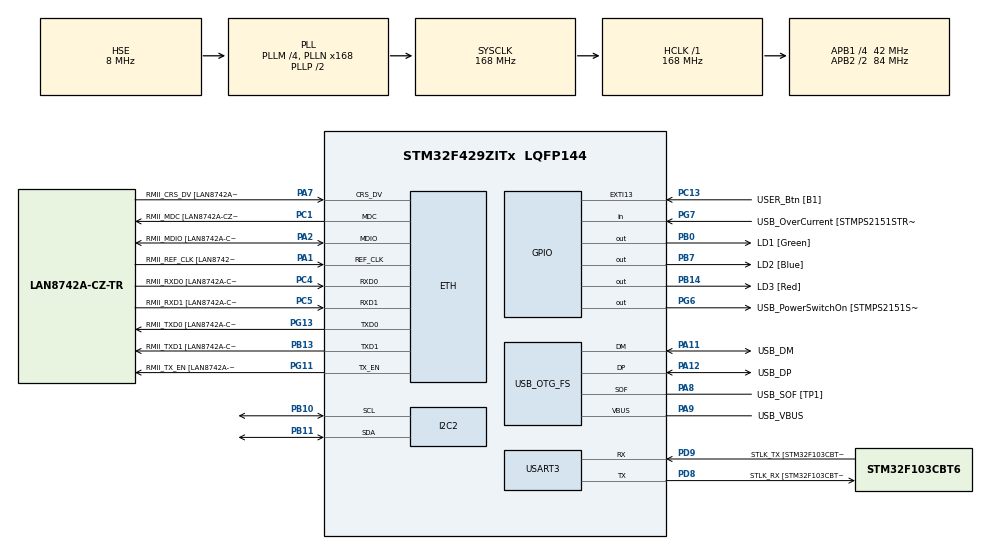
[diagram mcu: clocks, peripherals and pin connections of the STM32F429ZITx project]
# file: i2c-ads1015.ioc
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ETH.MediaInterface=HAL_ETH_RMII_MODE
ETH.PHY_Name=LAN8742A_PHY_ADDRESS
ETH.PHY_Value=0
ETH.PhyAddress=0
Mcu.Family=STM32F4
Mcu.Name=STM32F429ZITx
Mcu.Package=LQFP144
NVIC.PriorityGroup=NVIC_PRIORITYGROUP_4
NVIC.USART3_IRQn=true\:0\:0\:false\:false\:true\:true\:true\:true
PA1.GPIO_Label=RMII_REF_CLK [LAN8742A-CZ-TR_REFCLK0]
PA1.Mode=RMII
PA1.Signal=ETH_REF_CLK
PA10.GPIO_Label=USB_ID
PA10.Signal=USB_OTG_FS_ID
PA11.GPIO_Label=USB_DM
PA11.Mode=Device_Only
PA11.Signal=USB_OTG_FS_DM
PA12.GPIO_Label=USB_DP
PA12.Mode=Device_Only
PA12.Signal=USB_OTG_FS_DP
PA13.GPIO_Label=TMS
PA13.Mode=Serial_Wire
PA13.Signal=SYS_JTMS-SWDIO
PA14.GPIO_Label=TCK
PA14.Mode=Serial_Wire
PA14.Signal=SYS_JTCK-SWCLK
PA2.GPIO_Label=RMII_MDIO [LAN8742A-CZ-TR_MDIO]
PA2.Mode=RMII
PA2.Signal=ETH_MDIO
PA7.GPIO_Label=RMII_CRS_DV [LAN8742A-CZ-TR_CRS_DV]
PA7.Mode=RMII
PA7.Signal=ETH_CRS_DV
PA8.GPIO_Label=USB_SOF [TP1]
PA8.Mode=Activate_SOF_FS
PA8.Signal=USB_OTG_FS_SOF
PA9.GPIO_Label=USB_VBUS
PA9.Mode=Activate_VBUS
PA9.Signal=USB_OTG_FS_VBUS
PB0.GPIO_Label=LD1 [Green]
PB0.Signal=GPIO_Output
PB10.GPIO_Pu=GPIO_NOPULL
PB10.Mode=I2C
PB10.Signal=I2C2_SCL
PB11.Mode=I2C
PB11.Signal=I2C2_SDA
PB13.GPIO_Label=RMII_TXD1 [LAN8742A-CZ-TR_TXD1]
PB13.Mode=RMII
PB13.Signal=ETH_TXD1
PB14.GPIO_Label=LD3 [Red]
PB14.Signal=GPIO_Output
PB7.GPIO_Label=LD2 [Blue]
PB7.Signal=GPIO_Output
PC1.GPIO_Label=RMII_MDC [LAN8742A-CZ-TR_MDC]
PC1.Mode=RMII
PC1.Signal=ETH_MDC
PC13.GPIO_Label=USER_Btn [B1]
PC13.Signal=GPXTI13
PC14/OSC32_IN.Mode=LSE-External-Oscillator
PC14/OSC32_IN.Signal=RCC_OSC32_IN
PC15/OSC32_OUT.Mode=LSE-External-Oscillator
PC15/OSC32_OUT.Signal=RCC_OSC32_OUT
PC4.GPIO_Label=RMII_RXD0 [LAN8742A-CZ-TR_RXD0]
PC4.Mode=RMII
PC4.Signal=ETH_RXD0
PC5.GPIO_Label=RMII_RXD1 [LAN8742A-CZ-TR_RXD1]
PC5.Mode=RMII
PC5.Signal=ETH_RXD1
PD8.GPIO_Label=STLK_RX [STM32F103CBT6_PA3]
PD8.Mode=Asynchronous
PD8.Signal=USART3_TX
PD9.GPIO_Label=STLK_TX [STM32F103CBT6_PA2]
PD9.Mode=Asynchronous
PD9.Signal=USART3_RX
PG11.GPIO_Label=RMII_TX_EN [LAN8742A-CZ-TR_TXEN]
PG11.Mode=RMII
PG11.Signal=ETH_TX_EN
PG13.GPIO_Label=RMII_TXD0 [LAN8742A-CZ-TR_TXD0]
PG13.Mode=RMII
PG13.Signal=ETH_TXD0
PG6.GPIO_Label=USB_PowerSwitchOn [STMPS2151STR_EN]
PG6.Signal=GPIO_Output
PG7.GPIO_Label=USB_OverCurrent [STMPS2151STR_FAULT]
PG7.Signal=GPIO_Input
PH0/OSC_IN.GPIO_Label=MCO [STM32F103CBT6_PA8]
PH0/OSC_IN.Mode=HSE-External-Clock-Source
PH0/OSC_IN.Signal=RCC_OSC_IN
PH1/OSC_OUT.Mode=HSE-External-Clock-Source
PH1/OSC_OUT.Signal=RCC_OSC_OUT
ProjectManager.HeapSize=0x200
ProjectManager.StackSize=0x400
ProjectManager.TargetToolchain=STM32CubeIDE
RCC.48MHZClocksFreq_Value=48000000
RCC.AHBFreq_Value=168000000
RCC.APB1CLKDivider=RCC_HCLK_DIV4
RCC.APB1Freq_Value=42000000
RCC.APB1TimFreq_Value=84000000
RCC.APB2CLKDivider=RCC_HCLK_DIV2
RCC.APB2Freq_Value=84000000
RCC.APB2TimCLKDivider=2
RCC.APB2TimFreq_Value=168000000
RCC.CortexFreq_Value=168000000
RCC.HCLKFreq_Value=168000000
RCC.HSE_VALUE=8000000
RCC.HSI_VALUE=16000000
RCC.PLLM=4
RCC.PLLMUL=RCC_PLL_MUL9
RCC.PLLN=168
RCC.PLLQ=7
RCC.PRESCALERUSB=RCC_USBCLKSOURCE_PLL_DIV1_5
RCC.SYSCLKFreq_VALUE=168000000
RCC.SYSCLKSource=RCC_SYSCLKSOURCE_PLLCLK
RCC.SYSCLKSourceVirtual=RCC_SYSCLKSOURCE_PLLCLK
RCC.USBFreq_Value=48000000
RCC.VCOOutputFreq_Value=336000000
USART3.VirtualMode=VM_ASYNC
USB_OTG_FS.VirtualMode=Device_Only
board=NUCLEO-F429ZI

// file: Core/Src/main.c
/* USER CODE BEGIN Header */
/**
  ******************************************************************************
  * @file           : main.c
  * @brief          : Main program body
  ******************************************************************************
  * @attention
  *
  * Copyright (c) 2022 STMicroelectronics.
  * All rights reserved.
  *
  * This software is licensed under terms that can be found in the LICENSE file
  * in the root directory of this software component.
  * If no LICENSE file comes with this software, it is provided AS-IS.
  *
  ******************************************************************************
  */
/* USER CODE END Header */
#include "main.h"
#include "string.h"

ETH_TxPacketConfig TxConfig;
ETH_DMADescTypeDef  DMARxDscrTab[ETH_RX_DESC_CNT]; /* Ethernet Rx DMA Descriptors */
ETH_DMADescTypeDef  DMATxDscrTab[ETH_TX_DESC_CNT]; /* Ethernet Tx DMA Descriptors */

ETH_HandleTypeDef heth;

I2C_HandleTypeDef hi2c2;

UART_HandleTypeDef huart3;

PCD_HandleTypeDef hpcd_USB_OTG_FS;

/* USER CODE BEGIN PV */

static const uint8_t ADS1015_DEV_ADDR_GND = (0x48<<1);
static const uint8_t ADS1015_DEV_ADDR_VDD = (0x49<<1);
static const uint8_t ADS1015_DEV_ADDR_SCL = (0x4B<<1);
uint8_t testReceiveData[60];  //  creating a buffer of 60 bytes
const uint8_t addrhex[2] = "0x";
uint8_t test[13];
uint16_t devAddr;

int errorFlag = 0;
int writeFlag = 0;
int readFlag = 0;
int i2cFlag = 0;
int resetFlag = 0;
int clearFlag = 0;
int configFlag = 1;

/* USER CODE END PV */

void SystemClock_Config(void);
static void MX_GPIO_Init(void);
static void MX_ETH_Init(void);
static void MX_USART3_UART_Init(void);
static void MX_USB_OTG_FS_PCD_Init(void);
static void MX_I2C2_Init(void);

/* USER CODE BEGIN 0 */

void removeChar(char * str, char charToRemove){
    int i, j;
    int len = strlen(str);
    for(i=0; i<len; i++)
    {
        if(str[i] == charToRemove)
        {
            for(j=i; j<len; j++)
            {
                str[j] = str[j+1];
            }
            len--;
            i--;
        }
    }
}

void slice(const char *str, char *result, size_t start, size_t end){
    strncpy(result, str + start, end - start);
}

void MY_UART_Transmit(UART_HandleTypeDef *huart, const uint8_t *pData, uint32_t Timeout){

	removeChar(pData,'\n');
	removeChar(pData,'\r');
	strcat(pData, "\r\n");

	HAL_UART_Transmit(&huart3, pData, strlen(pData), Timeout);
}

/* USER CODE END 0 */

int main(void)
{
  /* USER CODE BEGIN 1 */

	uint8_t dataBuffer[2] = {0};
	int deviceReadyFlag = 1;

	uint8_t adsWrite[6] = {0x01, 0xC1, 0x83};
	uint8_t result[5];
	int16_t reading;
	float voltage;
	const float voltageConv = 5.053 / 32768.0;
  /* USER CODE END 1 */

  /* MCU Configuration--------------------------------------------------------*/

  /* Reset of all peripherals, Initializes the Flash interface and the Systick. */
  HAL_Init();

  /* Configure the system clock */
  SystemClock_Config();

  /* Initialize all configured peripherals */
  MX_GPIO_Init();
  MX_ETH_Init();
  MX_USART3_UART_Init();
  MX_USB_OTG_FS_PCD_Init();
  MX_I2C2_Init();
  /* USER CODE BEGIN 2 */
  HAL_UART_Receive_IT(&huart3,testReceiveData,sizeof(testReceiveData));
  /* USER CODE END 2 */

  /* Infinite loop */
  /* USER CODE BEGIN WHILE */
  while (1)
  {

	  if(deviceReadyFlag)
	  {
		  deviceReadyFlag = 0;
		  HAL_StatusTypeDef ready = HAL_I2C_IsDeviceReady(&hi2c2, ADS1015_DEV_ADDR_GND, 10, 3000);
		  if (ready != HAL_OK)
			  strcpy((char*)dataBuffer, "DEVICE 1 NOT READY");
		  else
			  MY_UART_Transmit(&huart3, "DEVICE 1 READY", 1000);

		  ready = HAL_I2C_IsDeviceReady(&hi2c2, ADS1015_DEV_ADDR_VDD, 10, 3000);
		  if (ready != HAL_OK)
		  	 strcpy((char*)dataBuffer, "DEVICE 2 NOT READY");
		  else
		  	 MY_UART_Transmit(&huart3, "DEVICE 2 READY", 1000);

		  MY_UART_Transmit(&huart3, dataBuffer, 1000);
	  }

	  if(i2cFlag)
	  {
	  	  		i2cFlag = 0;

	  	  		if(readFlag)
	  	  		{
	  	  			readFlag = 0;
	  	  			adsWrite[0] = 0x01;
	  	  			HAL_StatusTypeDef ret = HAL_I2C_Master_Transmit(&hi2c2, devAddr, adsWrite, 3, 1000);
	  	  			if ( ret != HAL_OK )
	  	  			{
	  	  				strcpy((char*)dataBuffer, "Error ConfigRegister Tx in Rx\r\n");
	  	  				errorFlag = 1;
	  	  			}

	  	  			adsWrite[0] = 0x00;
	  	  			ret = HAL_I2C_Master_Transmit(&hi2c2, devAddr, adsWrite, 1, 1000);
	  	  			if ( ret != HAL_OK )
	  	  			{
	  	  				strcpy((char*)dataBuffer, "Error ConversionRegister Tx in Rx\r\n");
	  	  				errorFlag = 1;
	  	  			}

	  	  			ret = HAL_I2C_Master_Receive(&hi2c2, devAddr, dataBuffer, 2, 3000);
	  	  			if(ret != HAL_OK)
	  	  			{
	  	  				strcpy((char*)dataBuffer, "Error Data Rx\r\n");
	  	  				errorFlag = 1;
	  	  			}

	  	  			else
	  	  			{
	  	  				reading = (dataBuffer[0] << 8 | dataBuffer[1]);
	  	  				voltage = reading * voltageConv;
	  	  				gcvt(voltage, 6, result);
	  	  				HAL_UART_Transmit(&huart3, "RECEIVED: ", 10, 1000);
	  	  				MY_UART_Transmit(&huart3, result, 1000);
	  	  				resetFlag = 1;
	  	  			}
	  	  	  	}

	  	  	HAL_UART_Receive_IT(&huart3,testReceiveData,sizeof(testReceiveData));
	  	  	resetFlag = 1;
	  	}

	  	if(resetFlag)
	  	{
	  		resetFlag = 0;
	  		reading = 0;
	  		voltage = 0;
	  		memset(dataBuffer,0,sizeof(dataBuffer));

	  		adsWrite[0] = 0x01;
	  		adsWrite[1] = 0x85;
	  		adsWrite[2] = 0x83;
	  		HAL_StatusTypeDef ret = HAL_I2C_Master_Transmit(&hi2c2, ADS1015_DEV_ADDR_GND, adsWrite, 3, 1000);
	  		if ( ret != HAL_OK )
	  		{
				strcpy((char*)dataBuffer, "Error Reset Tx\r\n");
				errorFlag = 1;
	  		}
	  	}

	  	if(errorFlag)
		{
			 errorFlag = 0;
			 MY_UART_Transmit(&huart3, dataBuffer, 1000);
		}

    /* USER CODE END WHILE */

  }
}

void SystemClock_Config(void)
{
  RCC_OscInitTypeDef RCC_OscInitStruct = {0};
  RCC_ClkInitTypeDef RCC_ClkInitStruct = {0};

  /** Configure the main internal regulator output voltage
  */
  __HAL_RCC_PWR_CLK_ENABLE();
  __HAL_PWR_VOLTAGESCALING_CONFIG(PWR_REGULATOR_VOLTAGE_SCALE1);

  /** Initializes the RCC Oscillators according to the specified parameters
  * in the RCC_OscInitTypeDef structure.
  */
  RCC_OscInitStruct.OscillatorType = RCC_OSCILLATORTYPE_HSE;
  RCC_OscInitStruct.HSEState = RCC_HSE_BYPASS;
  RCC_OscInitStruct.PLL.PLLState = RCC_PLL_ON;
  RCC_OscInitStruct.PLL.PLLSource = RCC_PLLSOURCE_HSE;
  RCC_OscInitStruct.PLL.PLLM = 4;
  RCC_OscInitStruct.PLL.PLLN = 168;
  RCC_OscInitStruct.PLL.PLLP = RCC_PLLP_DIV2;
  RCC_OscInitStruct.PLL.PLLQ = 7;
  if (HAL_RCC_OscConfig(&RCC_OscInitStruct) != HAL_OK)
  {
    Error_Handler();
  }

  /** Initializes the CPU, AHB and APB buses clocks
  */
  RCC_ClkInitStruct.ClockType = RCC_CLOCKTYPE_HCLK|RCC_CLOCKTYPE_SYSCLK
                              |RCC_CLOCKTYPE_PCLK1|RCC_CLOCKTYPE_PCLK2;
  RCC_ClkInitStruct.SYSCLKSource = RCC_SYSCLKSOURCE_PLLCLK;
  RCC_ClkInitStruct.AHBCLKDivider = RCC_SYSCLK_DIV1;
  RCC_ClkInitStruct.APB1CLKDivider = RCC_HCLK_DIV4;
  RCC_ClkInitStruct.APB2CLKDivider = RCC_HCLK_DIV2;

  if (HAL_RCC_ClockConfig(&RCC_ClkInitStruct, FLASH_LATENCY_5) != HAL_OK)
  {
    Error_Handler();
  }
}

static void MX_ETH_Init(void)
{

   static uint8_t MACAddr[6];

  heth.Instance = ETH;
  MACAddr[0] = 0x00;
  MACAddr[1] = 0x80;
  MACAddr[2] = 0xE1;
  MACAddr[3] = 0x00;
  MACAddr[4] = 0x00;
  MACAddr[5] = 0x00;
  heth.Init.MACAddr = &MACAddr[0];
  heth.Init.MediaInterface = HAL_ETH_RMII_MODE;
  heth.Init.TxDesc = DMATxDscrTab;
  heth.Init.RxDesc = DMARxDscrTab;
  heth.Init.RxBuffLen = 1524;

  if (HAL_ETH_Init(&heth) != HAL_OK)
  {
    Error_Handler();
  }

  memset(&TxConfig, 0 , sizeof(ETH_TxPacketConfig));
  TxConfig.Attributes = ETH_TX_PACKETS_FEATURES_CSUM | ETH_TX_PACKETS_FEATURES_CRCPAD;
  TxConfig.ChecksumCtrl = ETH_CHECKSUM_IPHDR_PAYLOAD_INSERT_PHDR_CALC;
  TxConfig.CRCPadCtrl = ETH_CRC_PAD_INSERT;

}

static void MX_I2C2_Init(void)
{

  hi2c2.Instance = I2C2;
  hi2c2.Init.ClockSpeed = 100000;
  hi2c2.Init.DutyCycle = I2C_DUTYCYCLE_2;
  hi2c2.Init.OwnAddress1 = 0;
  hi2c2.Init.AddressingMode = I2C_ADDRESSINGMODE_7BIT;
  hi2c2.Init.DualAddressMode = I2C_DUALADDRESS_DISABLE;
  hi2c2.Init.OwnAddress2 = 0;
  hi2c2.Init.GeneralCallMode = I2C_GENERALCALL_DISABLE;
  hi2c2.Init.NoStretchMode = I2C_NOSTRETCH_DISABLE;
  if (HAL_I2C_Init(&hi2c2) != HAL_OK)
  {
    Error_Handler();
  }

  /** Configure Analogue filter
  */
  if (HAL_I2CEx_ConfigAnalogFilter(&hi2c2, I2C_ANALOGFILTER_ENABLE) != HAL_OK)
  {
    Error_Handler();
  }

  /** Configure Digital filter
  */
  if (HAL_I2CEx_ConfigDigitalFilter(&hi2c2, 0) != HAL_OK)
  {
    Error_Handler();
  }

}

static void MX_USART3_UART_Init(void)
{

  huart3.Instance = USART3;
  huart3.Init.BaudRate = 115200;
  huart3.Init.WordLength = UART_WORDLENGTH_8B;
  huart3.Init.StopBits = UART_STOPBITS_1;
  huart3.Init.Parity = UART_PARITY_NONE;
  huart3.Init.Mode = UART_MODE_TX_RX;
  huart3.Init.HwFlowCtl = UART_HWCONTROL_NONE;
  huart3.Init.OverSampling = UART_OVERSAMPLING_16;
  if (HAL_UART_Init(&huart3) != HAL_OK)
  {
    Error_Handler();
  }

}

static void MX_USB_OTG_FS_PCD_Init(void)
{

  hpcd_USB_OTG_FS.Instance = USB_OTG_FS;
  hpcd_USB_OTG_FS.Init.dev_endpoints = 4;
  hpcd_USB_OTG_FS.Init.speed = PCD_SPEED_FULL;
  hpcd_USB_OTG_FS.Init.dma_enable = DISABLE;
  hpcd_USB_OTG_FS.Init.phy_itface = PCD_PHY_EMBEDDED;
  hpcd_USB_OTG_FS.Init.Sof_enable = ENABLE;
  hpcd_USB_OTG_FS.Init.low_power_enable = DISABLE;
  hpcd_USB_OTG_FS.Init.lpm_enable = DISABLE;
  hpcd_USB_OTG_FS.Init.vbus_sensing_enable = ENABLE;
  hpcd_USB_OTG_FS.Init.use_dedicated_ep1 = DISABLE;
  if (HAL_PCD_Init(&hpcd_USB_OTG_FS) != HAL_OK)
  {
    Error_Handler();
  }

}

static void MX_GPIO_Init(void)
{
  GPIO_InitTypeDef GPIO_InitStruct = {0};

  /* GPIO Ports Clock Enable */
  __HAL_RCC_GPIOC_CLK_ENABLE();
  __HAL_RCC_GPIOH_CLK_ENABLE();
  __HAL_RCC_GPIOA_CLK_ENABLE();
  __HAL_RCC_GPIOB_CLK_ENABLE();
  __HAL_RCC_GPIOD_CLK_ENABLE();
  __HAL_RCC_GPIOG_CLK_ENABLE();

  /*Configure GPIO pin Output Level */
  HAL_GPIO_WritePin(GPIOB, LD1_Pin|LD3_Pin|LD2_Pin, GPIO_PIN_RESET);

  /*Configure GPIO pin Output Level */
  HAL_GPIO_WritePin(USB_PowerSwitchOn_GPIO_Port, USB_PowerSwitchOn_Pin, GPIO_PIN_RESET);

  /*Configure GPIO pin : USER_Btn_Pin */
  GPIO_InitStruct.Pin = USER_Btn_Pin;
  GPIO_InitStruct.Mode = GPIO_MODE_IT_RISING;
  GPIO_InitStruct.Pull = GPIO_NOPULL;
  HAL_GPIO_Init(USER_Btn_GPIO_Port, &GPIO_InitStruct);

  /*Configure GPIO pins : LD1_Pin LD3_Pin LD2_Pin */
  GPIO_InitStruct.Pin = LD1_Pin|LD3_Pin|LD2_Pin;
  GPIO_InitStruct.Mode = GPIO_MODE_OUTPUT_PP;
  GPIO_InitStruct.Pull = GPIO_NOPULL;
  GPIO_InitStruct.Speed = GPIO_SPEED_FREQ_LOW;
  HAL_GPIO_Init(GPIOB, &GPIO_InitStruct);

  /*Configure GPIO pin : USB_PowerSwitchOn_Pin */
  GPIO_InitStruct.Pin = USB_PowerSwitchOn_Pin;
  GPIO_InitStruct.Mode = GPIO_MODE_OUTPUT_PP;
  GPIO_InitStruct.Pull = GPIO_NOPULL;
  GPIO_InitStruct.Speed = GPIO_SPEED_FREQ_LOW;
  HAL_GPIO_Init(USB_PowerSwitchOn_GPIO_Port, &GPIO_InitStruct);

  /*Configure GPIO pin : USB_OverCurrent_Pin */
  GPIO_InitStruct.Pin = USB_OverCurrent_Pin;
  GPIO_InitStruct.Mode = GPIO_MODE_INPUT;
  GPIO_InitStruct.Pull = GPIO_NOPULL;
  HAL_GPIO_Init(USB_OverCurrent_GPIO_Port, &GPIO_InitStruct);

}

/* USER CODE BEGIN 4 */
void HAL_UART_RxCpltCallback(UART_HandleTypeDef *huart)
{

	if(!(strncmp(testReceiveData,"R",1)))
		readFlag = 1;
	else
		readFlag = 0;

	char dev[4] = {0};

	slice(testReceiveData, dev, 1, 5);
	if(!(strncmp(dev,"DEV1",4)))
		devAddr = ADS1015_DEV_ADDR_GND;
	else if(!(strncmp(dev,"DEV2",4)))
		devAddr = ADS1015_DEV_ADDR_VDD;

	memset(dev,0,sizeof(dev));

	MY_UART_Transmit(&huart3, testReceiveData, 100);
	memset(testReceiveData,0,sizeof(testReceiveData));
	i2cFlag = 1;
}
/* USER CODE END 4 */

void Error_Handler(void)
{
  __disable_irq();
  while (1)
  {
  }
}
